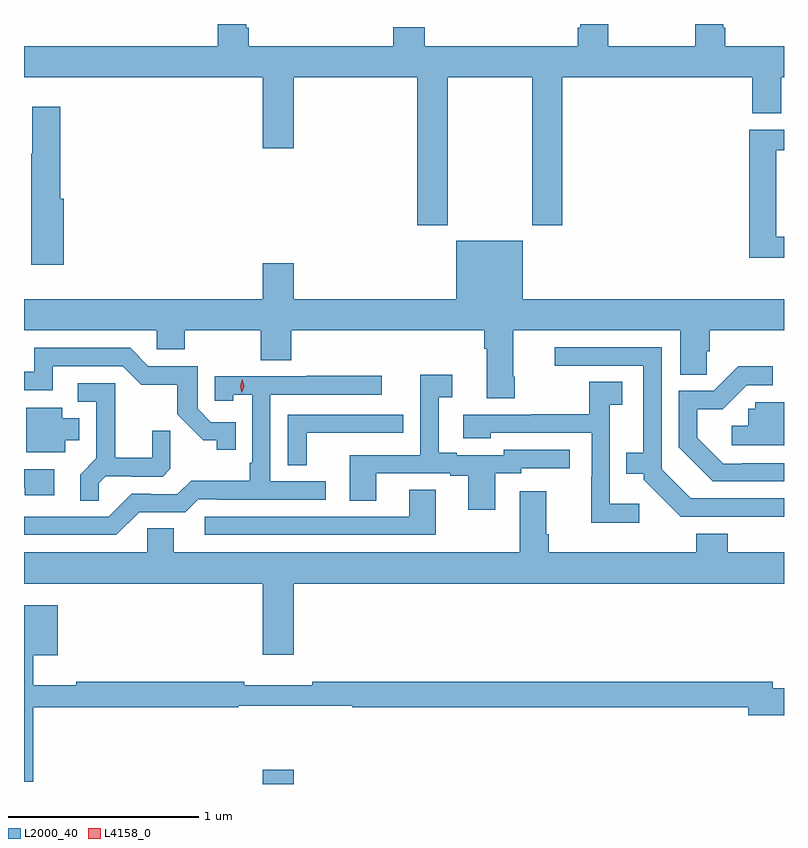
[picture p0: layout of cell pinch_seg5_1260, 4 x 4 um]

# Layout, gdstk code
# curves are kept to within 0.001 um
import gdstk
lib = gdstk.Library(unit=1e-6, precision=1e-09)
def R(c, l, rs):  # rectangles x0, y0, x1, y1
    for r in rs: c.add(gdstk.rectangle(r[:2], r[2:], *l))
def P(c, l, *ps):  # polygons
    for p in ps: c.add(gdstk.Polygon(p, *l))
L2000_40 = (2000, 40)
L4158_0 = (4158, 0)

pinch_seg5_1260 = lib.new_cell('pinch_seg5_1260')
R(pinch_seg5_1260, L2000_40, [(440.732,859.701,440.896,859.777)])
P(pinch_seg5_1260, L2000_40, [(441.705,863.42),(442.15,863.42),(442.15,862.641),(442.31,862.641),(442.31,863.42),(443.309,863.42),(443.309,863.23),(443.461,863.23),(443.461,863.42),(443.476,863.42),(443.476,863.584),(443.168,863.584),(443.168,863.682),(443.155,863.682),(443.155,863.701),(443.008,863.701),(443.008,863.584),(442.551,863.584),(442.551,863.701),(442.403,863.701),(442.403,863.682),(442.391,863.682),(442.391,863.584),(441.584,863.584),(441.584,863.683),(441.419,863.683),(441.419,863.584),(440.66,863.584),(440.66,863.68),(440.647,863.68),(440.647,863.701),(440.495,863.701),(440.495,863.584),(439.476,863.584),(439.476,863.42),(440.732,863.42),(440.732,863.046),(440.896,863.046),(440.896,863.42),(441.545,863.42),(441.545,862.641),(441.705,862.641)],
  [(439.685,862.782),(439.667,862.782),(439.667,863.266),(439.52,863.266),(439.52,863.018),(439.513,863.018),(439.513,862.782),(439.514,862.782),(439.514,862.434),(439.685,862.434)],
  [(443.476,862.582),(443.436,862.582),(443.436,863.037),(443.476,863.037),(443.476,863.145),(443.294,863.145),(443.294,862.471),(443.476,862.471)],
  [(442.059,861.844),(442.051,861.844),(442.051,862.088),(442.931,862.088),(442.931,861.856),(443.069,861.856),(443.069,861.978),(443.084,861.978),(443.084,862.088),(443.476,862.088),(443.476,862.252),(442.102,862.252),(442.102,862.561),(441.752,862.561),(441.752,862.252),(440.896,862.252),(440.896,862.441),(440.732,862.441),(440.732,862.252),(439.476,862.252),(439.476,862.088),(440.175,862.088),(440.175,861.99),(440.322,861.99),(440.322,862.088),(440.722,862.088),(440.722,861.931),(440.882,861.931),(440.882,862.088),(441.899,862.088),(441.899,861.992),(441.911,861.992),(441.911,861.732),(442.059,861.732)],
  [(443.476,861.204),(442.986,861.204),(442.833,861.357),(442.833,861.999),(442.269,861.999),(442.269,861.903),(442.736,861.903),(442.736,861.445),(442.645,861.445),(442.645,861.335),(442.737,861.335),(442.737,861.303),(442.932,861.108),(443.476,861.107)],
  [(440.591,861.606),(440.46,861.606),(440.391,861.675),(440.391,861.9),(440.13,861.9),(440.034,861.996),(439.529,861.996),(439.529,861.87),(439.476,861.87),(439.476,861.774),(439.627,861.774),(439.627,861.9),(439.995,861.9),(440.094,861.802),(440.283,861.802),(440.283,861.646),(440.42,861.509),(440.49,861.509),(440.49,861.459),(440.591,861.459)],
  [(443.476,861.39),(443.257,861.39),(443.257,861.387),(443.157,861.387),(443.02,861.524),(443.02,861.674),(443.153,861.674),(443.28,861.801),(443.416,861.801),(443.416,861.899),(443.234,861.899),(443.106,861.771),(442.923,861.771),(442.923,861.473),(443.102,861.294),(443.476,861.294)],
  [(441.955,861.336),(442.092,861.336),(442.092,861.363),(442.348,861.363),(442.348,861.459),(442.002,861.459),(442.002,861.432),(441.754,861.432),(441.754,861.445),(441.658,861.445),(441.658,861.736),(441.73,861.736),(441.73,861.856),(441.561,861.856),(441.561,861.432),(441.191,861.432),(441.191,861.193),(441.331,861.193),(441.331,861.336),(441.719,861.336),(441.719,861.324),(441.815,861.324),(441.815,861.144),(441.955,861.144)],
  [(440.082,861.132),(440.325,861.132),(440.394,861.201),(440.494,861.201),(440.494,861.198),(441.064,861.198),(441.064,861.294),(440.772,861.294),(440.772,861.75),(441.358,861.75),(441.358,861.849),(440.965,861.849),(440.965,861.846),(440.481,861.846),(440.481,861.717),(440.577,861.717),(440.577,861.749),(440.676,861.749),(440.676,861.391),(440.664,861.391),(440.664,861.298),(440.356,861.298),(440.283,861.225),(440.144,861.225),(440.144,861.228),(440.043,861.228),(439.923,861.108),(439.476,861.108),(439.476,861.012),(439.962,861.012)],
  [(442.714,861.175),(442.56,861.175),(442.56,861.697),(442.624,861.697),(442.624,861.818),(442.452,861.818),(442.452,861.648),(442.147,861.648),(442.147,861.645),(441.789,861.645),(441.789,861.521),(441.933,861.521),(441.933,861.549),(442.464,861.549),(442.464,861.317),(442.462,861.317),(442.462,861.077),(442.714,861.077)],
  [(439.869,861.284),(439.906,861.321),(440.04,861.321),(440.04,861.318),(440.205,861.318),(440.246,861.359),(440.246,861.561),(440.152,861.561),(440.152,861.418),(439.955,861.418),(439.955,861.81),(439.758,861.81),(439.758,861.714),(439.857,861.714),(439.857,861.415),(439.771,861.329),(439.771,861.193),(439.869,861.193)],
  [(443.476,861.711),(443.325,861.711),(443.325,861.675),(443.289,861.675),(443.289,861.586),(443.202,861.586),(443.202,861.483),(443.476,861.483)],
  [(439.693,861.509),(439.768,861.509),(439.768,861.625),(439.678,861.625),(439.678,861.682),(439.487,861.682),(439.487,861.446),(439.693,861.446)],
  [(440.964,861.549),(441.359,861.549),(441.359,861.55),(441.472,861.55),(441.472,861.645),(440.865,861.645),(440.865,861.379),(440.964,861.379)],
  [(439.636,861.357),(439.476,861.357),(439.476,861.261),(439.48,861.261),(439.48,861.221),(439.636,861.221)],
  [(441.643,861.251),(441.503,861.251),(441.503,861.108),(440.427,861.108),(440.427,861.012),(441.643,861.012)],
  [(440.896,860.756),(443.476,860.756),(443.476,860.92),(443.18,860.92),(443.18,861.019),(443.015,861.019),(443.015,860.92),(442.238,860.92),(442.238,861.016),(442.225,861.016),(442.225,861.241),(442.085,861.241),(442.085,860.92),(440.263,860.92),(440.263,861.047),(440.124,861.047),(440.124,860.92),(439.476,860.92),(439.476,860.756),(440.732,860.756),(440.732,860.382),(440.896,860.382)],
  [(439.525,860.104),(440.603,860.104),(440.603,860.112),(441.203,860.112),(441.203,860.104),(443.288,860.104),(443.288,860.062),(443.476,860.062),(443.476,860.204),(443.416,860.204),(443.416,860.24),(440.992,860.24),(440.992,860.221),(440.636,860.221),(440.636,860.24),(439.75,860.24),(439.75,860.221),(439.525,860.221),(439.525,860.378),(439.654,860.378),(439.654,860.641),(439.476,860.641),(439.476,859.713),(439.525,859.713)])
P(pinch_seg5_1260, L4158_0, [(440.622,861.759),(440.622,861.759),(440.614,861.795),(440.625,861.83),(440.625,861.831),(440.625,861.83),(440.634,861.794),(440.622,861.759)])

lib.write_gds('pinch_seg5_1260.gds')
